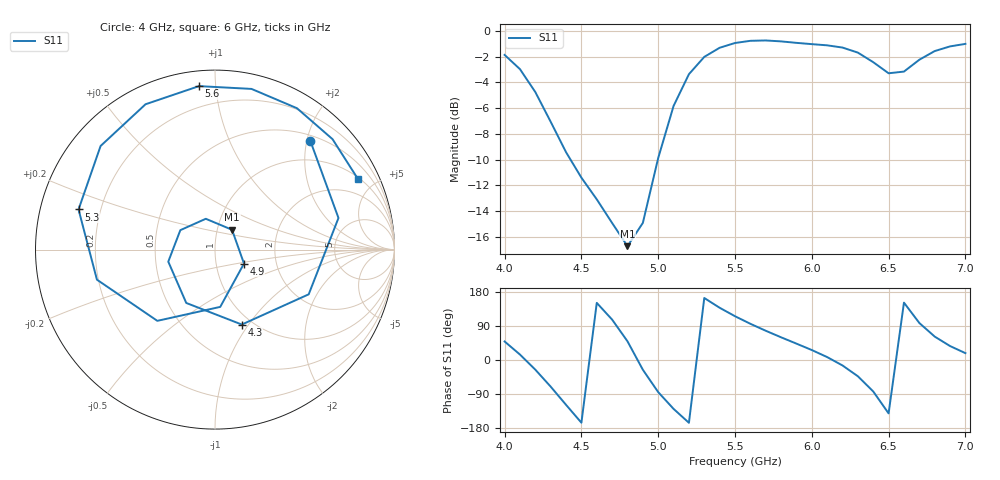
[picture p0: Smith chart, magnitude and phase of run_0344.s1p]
! Touchstone file exported from HFSS 2024.2.0
!  File:  C:/Users/wsak9/Desktop/Sim Fast/Widenad Patch/WP_AI_V1_sweep.aedt
!  Generated:  05:36:08 AM Oct 14, 2026
!  Design:  A1_model
!  Project:  WP_AI_V1_sweep
!  Setup:  Setup1
!  Solution:  Sweep
! Variables:
!  Air_gap = 4.78mm
!  Curve_Amp1 = 3.11
!  Curve_len1 = 1
!  Curve_pos = 12.66mm
!  Extra = 0.81mm
!  H_sub = 0.79mm
!  L_Patch = 21.32mm
!  L_Patch1 = 15.34mm
!  Sx = 1.84mm
!  Sy = 0.77mm
!  WS = 1.45mm
!  W_Patch = 13.92mm
!  W_Patch1 = 14.53mm
!Data is not renormalized
# GHz S MA
! Terminal data exported
! Port[1] = 1
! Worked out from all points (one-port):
!   31 points, 4 GHz to 7 GHz, reference per port
!   lowest |S11| = -16.7 dB at 4.8 GHz (marker M1), VSWR 1.34
!   |S11| at or under -10 dB: 4.429 GHz to 4.998 GHz (568.9 MHz wide, 12.1 % of centre)
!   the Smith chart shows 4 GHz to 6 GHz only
!   S11 on the Smith chart (normalised r, x): 4 GHz: 0.59, +2.06; 4.3 GHz: 0.89, -0.93; 4.9 GHz: 1.36, -0.22; 5.3 GHz: 0.12, +0.14; 5.6 GHz: 0.08, +0.90; 6 GHz: 1.08, +4.01
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4  0.8067 48.9
4.1  0.7101 14.4
4.2  0.5785 -25.5
4.3  0.4434 -70.3
4.4  0.3377 -118.3
4.5  0.2688 -165.5
4.6  0.2214 150.7
4.8  0.1456 49.3
4.9  0.1793 -25.7
5  0.3205 -84.8
5.1  0.5107 -129.0
5.2  0.6788 -165.7
5.3  0.7925 163.6
5.4  0.86 137.8
5.5  0.8975 115.5
5.6  0.9152 95.6
5.7  0.9181 77.2
5.9  0.8986 43.2
6  0.8883 26.3
6.2  0.8615 -14.4
6.3  0.8234 -42.9
6.4  0.7559 -83.0
6.5  0.6844 -140.9
6.6  0.6948 151.4
6.7  0.7725 97.7
6.8  0.8348 61.8
6.9  0.8705 36.9
7  0.8904 18.1
